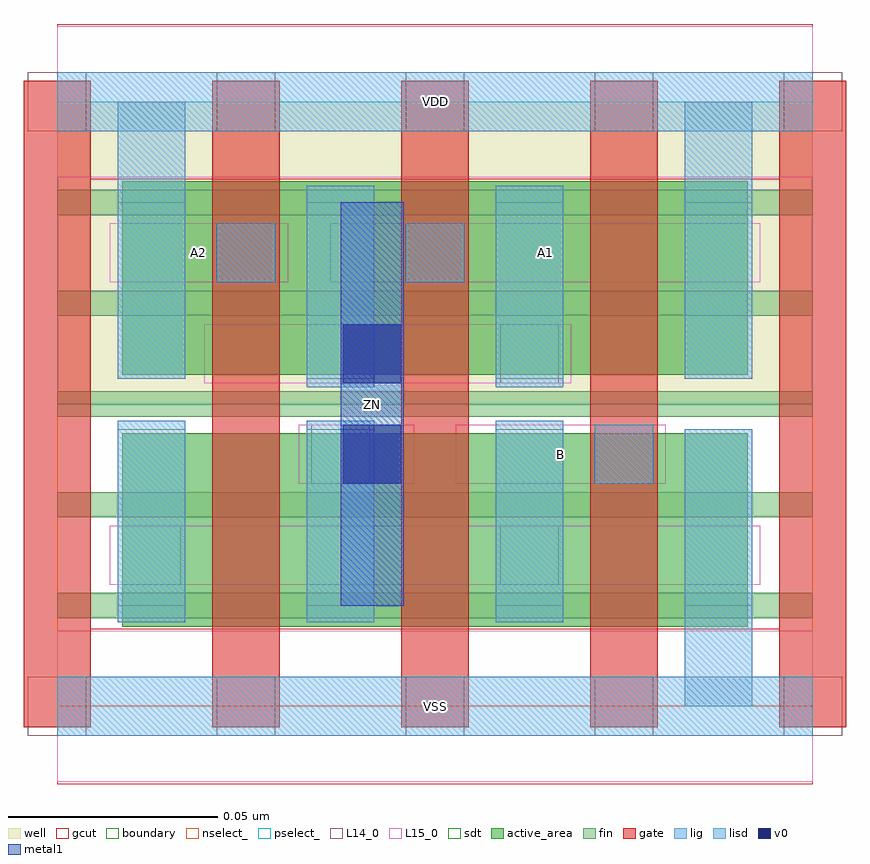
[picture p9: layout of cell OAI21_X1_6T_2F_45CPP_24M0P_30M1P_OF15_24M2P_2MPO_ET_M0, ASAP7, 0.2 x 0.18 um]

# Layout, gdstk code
import gdstk
lib = gdstk.Library(unit=1e-6, precision=2.5e-10)
def R(c, l, rs):  # rectangles x0, y0, x1, y1
    for r in rs: c.add(gdstk.rectangle(r[:2], r[2:], *l))
def A(c, l, x, y, w, h, nx, ny, dx, dy):  # array of equal rectangles
    R(c, l, [(x+i*dx, y+j*dy, x+i*dx+w, y+j*dy+h) for i in range(nx) for j in range(ny)])
well = (1, 0)
fin = (2, 0)
gate = (7, 0)
gcut = (10, 0)
active_area = (11, 0)
nselect_ = (12, 0)
pselect_ = (13, 0)
L14_0 = (14, 0)
L15_0 = (15, 0)
lig = (16, 0)
lisd = (17, 0)
v0 = (18, 0)
metal1 = (19, 0)
sdt = (88, 0)
boundary = (100, 0)

oai21_x1_6t_2f_45cpp_24m = lib.new_cell('OAI21_X1_6T_2F_45CPP_24M0P_30M1P_OF15_24M2P_2MPO_ET_M0')
R(oai21_x1_6t_2f_45cpp_24m, well, [(0,0.072,0.18,0.144)])
A(oai21_x1_6t_2f_45cpp_24m, fin, 0, 0.021, 0.18, 0.006, 1, 5, 0, 0.024)
A(oai21_x1_6t_2f_45cpp_24m, gate, -0.008, -0.005, 0.016, 0.154, 5, 1, 0.045, 0)
R(oai21_x1_6t_2f_45cpp_24m, gcut, [(0,-0.0185,0.18,0.0185), (-0.008,-0.005,0.008,0.149), (0.172,-0.005,0.188,0.149), (0,0.1255,0.18,0.1625)])
A(oai21_x1_6t_2f_45cpp_24m, active_area, 0.0155, 0.019, 0.059, 0.046, 3, 2, 0.045, 0.06)
R(oai21_x1_6t_2f_45cpp_24m, nselect_, [(0,0,0.18,0.072)])
R(oai21_x1_6t_2f_45cpp_24m, pselect_, [(0,0.072,0.18,0.144)])
A(oai21_x1_6t_2f_45cpp_24m, L14_0, -0.007, -0.007, 0.014, 0.014, 5, 2, 0.045, 0.144)
R(oai21_x1_6t_2f_45cpp_24m, L14_0, [(0.0155,0.029,0.0295,0.043), (0.1055,0.029,0.1195,0.043), (0.0605,0.053,0.0745,0.067), (0.128,0.053,0.142,0.067), (0.1055,0.077,0.1195,0.091), (0.038,0.101,0.052,0.115), (0.083,0.101,0.097,0.115)])
R(oai21_x1_6t_2f_45cpp_24m, L15_0, [(0,-0.018,0.18,0.018), (0.0125,0.029,0.1675,0.043), (0.0575,0.053,0.085,0.067), (0.095,0.053,0.145,0.067), (0.035,0.077,0.1225,0.091), (0.0125,0.101,0.055,0.115), (0.065,0.101,0.1675,0.115), (0,0.126,0.18,0.162)])
R(oai21_x1_6t_2f_45cpp_24m, lig, [(0,-0.007,0.18,0.007), (0.128,0.053,0.142,0.067), (0.038,0.101,0.052,0.115), (0.083,0.101,0.097,0.115), (0,0.137,0.18,0.151)])
A(oai21_x1_6t_2f_45cpp_24m, lisd, 0.0145, 0.02, 0.016, 0.048, 3, 1, 0.045, 0)
R(oai21_x1_6t_2f_45cpp_24m, lisd, [(0.1495,0,0.1655,0.066), (0.0595,0.076,0.0755,0.124), (0.1045,0.076,0.1205,0.124), (0.0145,0.078,0.0305,0.144), (0.1495,0.078,0.1655,0.144)])
R(oai21_x1_6t_2f_45cpp_24m, v0, [(0.068,0.053,0.082,0.067), (0.068,0.077,0.082,0.091)])
R(oai21_x1_6t_2f_45cpp_24m, metal1, [(0.0675,0.024,0.0825,0.12)])
A(oai21_x1_6t_2f_45cpp_24m, sdt, 0.0145, 0.024, 0.016, 0.042, 4, 2, 0.045, 0.054)
R(oai21_x1_6t_2f_45cpp_24m, boundary, [(0,0,0.18,0.144)])
oai21_x1_6t_2f_45cpp_24m.add(gdstk.Label('A2', (0.0338,0.108), layer=15, texttype=251))
oai21_x1_6t_2f_45cpp_24m.add(gdstk.Label('B', (0.12,0.06), layer=15, texttype=251))
oai21_x1_6t_2f_45cpp_24m.add(gdstk.Label('A1', (0.1163,0.108), layer=15, texttype=251))
oai21_x1_6t_2f_45cpp_24m.add(gdstk.Label('VDD', (0.09,0.144), layer=15, texttype=251))
oai21_x1_6t_2f_45cpp_24m.add(gdstk.Label('VSS', (0.09,0), layer=15, texttype=251))
oai21_x1_6t_2f_45cpp_24m.add(gdstk.Label('VDD', (0.09,0.144), layer=1, texttype=251))
oai21_x1_6t_2f_45cpp_24m.add(gdstk.Label('VSS', (0.09,0), layer=3, texttype=251))
oai21_x1_6t_2f_45cpp_24m.add(gdstk.Label('ZN', (0.075,0.072), layer=19, texttype=251))

lib.write_gds('OAI21_X1_6T_2F_45CPP_24M0P_30M1P_OF15_24M2P_2MPO_ET_M0.gds')
